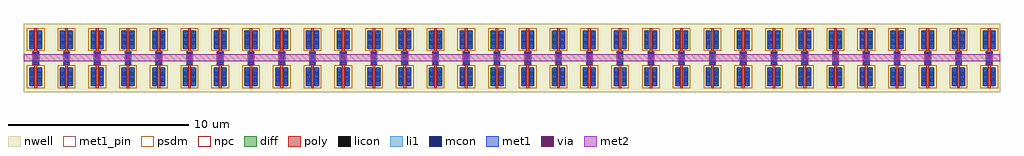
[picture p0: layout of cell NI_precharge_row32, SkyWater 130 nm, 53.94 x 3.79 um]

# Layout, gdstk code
import gdstk
lib = gdstk.Library(unit=1e-6, precision=1e-09)
def R(c, l, rs):  # rectangles x0, y0, x1, y1
    for r in rs: c.add(gdstk.rectangle(r[:2], r[2:], *l))
def A(c, l, x, y, w, h, nx, ny, dx, dy):  # array of equal rectangles
    R(c, l, [(x+i*dx, y+j*dy, x+i*dx+w, y+j*dy+h) for i in range(nx) for j in range(ny)])
nwell = (64, 20)
diff = (65, 20)
poly = (66, 20)
licon = (66, 44)
li1 = (67, 20)
mcon = (67, 44)
met1_pin = (68, 16)
met1 = (68, 20)
via = (68, 44)
met2 = (69, 20)
psdm = (94, 20)
npc = (95, 20)

ni_precharge = lib.new_cell('NI_precharge')
R(ni_precharge, nwell, [(-0.545,-0.81,0.545,0.81)])
R(ni_precharge, diff, [(-0.365,-0.5,0.365,0.5)])
R(ni_precharge, poly, [(-0.075,-0.63,0.075,0.63), (-0.135,0.63,0.135,1.01)])
A(ni_precharge, licon, -0.305, -0.425, 0.17, 0.17, 1, 3, 0, 0.34)
A(ni_precharge, licon, 0.135, -0.425, 0.17, 0.17, 1, 3, 0, 0.34)
R(ni_precharge, licon, [(-0.085,0.76,0.085,0.93)])
R(ni_precharge, li1, [(-0.305,-0.52,-0.135,0.52), (0.135,-0.52,0.305,0.52), (-0.165,0.69,0.165,1)])
R(ni_precharge, mcon, [(-0.305,-0.265,-0.135,-0.095), (0.135,-0.265,0.305,-0.095), (-0.305,0.095,-0.135,0.265), (0.135,0.095,0.305,0.265), (-0.085,0.76,0.085,0.93)])
R(ni_precharge, met1_pin, [(-0.32,-0.1,-0.12,0.1), (0.12,-0.1,0.32,0.1), (-0.05,0.95,0.05,1)])
R(ni_precharge, met1, [(-0.335,-0.5,-0.105,0.5), (0.105,-0.5,0.335,0.5), (-0.135,0.7,0.135,1.03)])
R(ni_precharge, psdm, [(-0.49,-0.625,0.49,0.625)])
R(ni_precharge, npc, [(-0.185,0.66,0.185,1.03)])
ni_precharge.add(gdstk.Label('G', (0,0.975), layer=68, texttype=5))
ni_precharge.add(gdstk.Label('S', (0.22,0), layer=68, texttype=5))
ni_precharge.add(gdstk.Label('D', (-0.22,0), layer=68, texttype=5))
ni_precharge.add(gdstk.Label('S', (0.22,0), layer=67, texttype=5))
ni_precharge.add(gdstk.Label('D', (-0.22,0), layer=67, texttype=5))

ni_precharge_row32 = lib.new_cell('NI_precharge_row32')
R(ni_precharge_row32, nwell, [(-0.1,-0.05,53.84,3.74)])
A(ni_precharge_row32, poly, 0.41, 1.8, 0.27, 0.07, 32, 1, 1.7, 0)
A(ni_precharge_row32, li1, 0.38, 1.79, 0.33, 0.09, 32, 1, 1.7, 0)
A(ni_precharge_row32, met1, 0.415, 1.74, 0.26, 0.07, 32, 1, 1.7, 0)
A(ni_precharge_row32, met1, 0.41, 1.81, 0.27, 0.08, 32, 1, 1.7, 0)
A(ni_precharge_row32, met1, 0.415, 1.89, 0.26, 0.11, 32, 1, 1.7, 0)
A(ni_precharge_row32, via, 0.47, 1.795, 0.15, 0.15, 32, 1, 1.7, 0)
R(ni_precharge_row32, met2, [(-0.1,1.66,53.84,2.04)])
ni_precharge_row32.add(gdstk.Reference(ni_precharge, (53.245,2.86), x_reflection=True))
ni_precharge_row32.add(gdstk.Reference(ni_precharge, (51.545,2.86), x_reflection=True))
ni_precharge_row32.add(gdstk.Reference(ni_precharge, (49.845,2.86), x_reflection=True))
ni_precharge_row32.add(gdstk.Reference(ni_precharge, (24.345,0.81)))
ni_precharge_row32.add(gdstk.Reference(ni_precharge, (15.845,2.86), x_reflection=True))
ni_precharge_row32.add(gdstk.Reference(ni_precharge, (22.645,2.86), x_reflection=True))
ni_precharge_row32.add(gdstk.Reference(ni_precharge, (22.645,0.81)))
ni_precharge_row32.add(gdstk.Reference(ni_precharge, (14.145,2.86), x_reflection=True))
ni_precharge_row32.add(gdstk.Reference(ni_precharge, (20.945,2.86), x_reflection=True))
ni_precharge_row32.add(gdstk.Reference(ni_precharge, (20.945,0.81)))
ni_precharge_row32.add(gdstk.Reference(ni_precharge, (12.445,2.86), x_reflection=True))
ni_precharge_row32.add(gdstk.Reference(ni_precharge, (19.245,2.86), x_reflection=True))
ni_precharge_row32.add(gdstk.Reference(ni_precharge, (19.245,0.81)))
ni_precharge_row32.add(gdstk.Reference(ni_precharge, (17.545,2.86), x_reflection=True))
ni_precharge_row32.add(gdstk.Reference(ni_precharge, (26.045,0.81)))
ni_precharge_row32.add(gdstk.Reference(ni_precharge, (12.445,0.81)))
ni_precharge_row32.add(gdstk.Reference(ni_precharge, (43.045,2.86), x_reflection=True))
ni_precharge_row32.add(gdstk.Reference(ni_precharge, (17.545,0.81)))
ni_precharge_row32.add(gdstk.Reference(ni_precharge, (10.745,2.86), x_reflection=True))
ni_precharge_row32.add(gdstk.Reference(ni_precharge, (0.545,0.81)))
ni_precharge_row32.add(gdstk.Reference(ni_precharge, (9.045,0.81)))
ni_precharge_row32.add(gdstk.Reference(ni_precharge, (39.645,2.86), x_reflection=True))
ni_precharge_row32.add(gdstk.Reference(ni_precharge, (3.945,2.86), x_reflection=True))
ni_precharge_row32.add(gdstk.Reference(ni_precharge, (48.145,0.81)))
ni_precharge_row32.add(gdstk.Reference(ni_precharge, (2.245,0.81)))
ni_precharge_row32.add(gdstk.Reference(ni_precharge, (41.345,0.81)))
ni_precharge_row32.add(gdstk.Reference(ni_precharge, (10.745,0.81)))
ni_precharge_row32.add(gdstk.Reference(ni_precharge, (41.345,2.86), x_reflection=True))
ni_precharge_row32.add(gdstk.Reference(ni_precharge, (3.945,0.81)))
ni_precharge_row32.add(gdstk.Reference(ni_precharge, (43.045,0.81)))
ni_precharge_row32.add(gdstk.Reference(ni_precharge, (5.645,0.81)))
ni_precharge_row32.add(gdstk.Reference(ni_precharge, (0.545,2.86), x_reflection=True))
ni_precharge_row32.add(gdstk.Reference(ni_precharge, (44.745,0.81)))
ni_precharge_row32.add(gdstk.Reference(ni_precharge, (49.845,0.81)))
ni_precharge_row32.add(gdstk.Reference(ni_precharge, (5.645,2.86), x_reflection=True))
ni_precharge_row32.add(gdstk.Reference(ni_precharge, (44.745,2.86), x_reflection=True))
ni_precharge_row32.add(gdstk.Reference(ni_precharge, (7.345,0.81)))
ni_precharge_row32.add(gdstk.Reference(ni_precharge, (2.245,2.86), x_reflection=True))
ni_precharge_row32.add(gdstk.Reference(ni_precharge, (46.445,0.81)))
ni_precharge_row32.add(gdstk.Reference(ni_precharge, (14.145,0.81)))
ni_precharge_row32.add(gdstk.Reference(ni_precharge, (51.545,0.81)))
ni_precharge_row32.add(gdstk.Reference(ni_precharge, (7.345,2.86), x_reflection=True))
ni_precharge_row32.add(gdstk.Reference(ni_precharge, (46.445,2.86), x_reflection=True))
ni_precharge_row32.add(gdstk.Reference(ni_precharge, (15.845,0.81)))
ni_precharge_row32.add(gdstk.Reference(ni_precharge, (53.245,0.81)))
ni_precharge_row32.add(gdstk.Reference(ni_precharge, (9.045,2.86), x_reflection=True))
ni_precharge_row32.add(gdstk.Reference(ni_precharge, (48.145,2.86), x_reflection=True))
ni_precharge_row32.add(gdstk.Reference(ni_precharge, (24.345,2.86), x_reflection=True))
ni_precharge_row32.add(gdstk.Reference(ni_precharge, (26.045,2.86), x_reflection=True))
ni_precharge_row32.add(gdstk.Reference(ni_precharge, (34.545,0.81)))
ni_precharge_row32.add(gdstk.Reference(ni_precharge, (27.745,0.81)))
ni_precharge_row32.add(gdstk.Reference(ni_precharge, (27.745,2.86), x_reflection=True))
ni_precharge_row32.add(gdstk.Reference(ni_precharge, (36.245,0.81)))
ni_precharge_row32.add(gdstk.Reference(ni_precharge, (29.445,0.81)))
ni_precharge_row32.add(gdstk.Reference(ni_precharge, (29.445,2.86), x_reflection=True))
ni_precharge_row32.add(gdstk.Reference(ni_precharge, (37.945,0.81)))
ni_precharge_row32.add(gdstk.Reference(ni_precharge, (31.145,0.81)))
ni_precharge_row32.add(gdstk.Reference(ni_precharge, (31.145,2.86), x_reflection=True))
ni_precharge_row32.add(gdstk.Reference(ni_precharge, (39.645,0.81)))
ni_precharge_row32.add(gdstk.Reference(ni_precharge, (32.845,0.81)))
ni_precharge_row32.add(gdstk.Reference(ni_precharge, (32.845,2.86), x_reflection=True))
ni_precharge_row32.add(gdstk.Reference(ni_precharge, (34.545,2.86), x_reflection=True))
ni_precharge_row32.add(gdstk.Reference(ni_precharge, (36.245,2.86), x_reflection=True))
ni_precharge_row32.add(gdstk.Reference(ni_precharge, (37.945,2.86), x_reflection=True))

lib.write_gds('NI_precharge_row32.gds')
